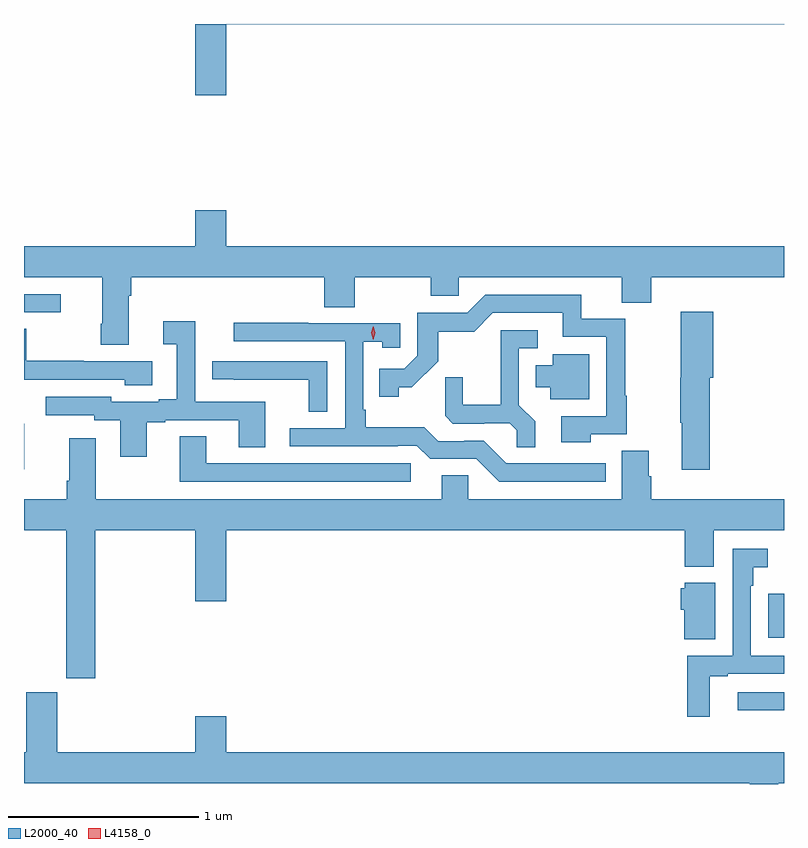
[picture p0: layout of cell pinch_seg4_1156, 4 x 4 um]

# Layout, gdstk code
import gdstk
lib = gdstk.Library(unit=1e-6, precision=1e-09)
def R(c, l, rs):  # rectangles x0, y0, x1, y1
    for r in rs: c.add(gdstk.rectangle(r[:2], r[2:], *l))
def P(c, l, *ps):  # polygons
    for p in ps: c.add(gdstk.Polygon(p, *l))
L2000_40 = (2000, 40)
L4158_0 = (4158, 0)

pinch_seg4_1156 = lib.new_cell('pinch_seg4_1156')
R(pinch_seg4_1156, L2000_40, [(395.637,782.553,395.88,782.649), (395.798,782.936,395.88,783.166), (391.88,783.821,391.881,784.061), (391.88,784.647,392.074,784.743)])
P(pinch_seg4_1156, L2000_40, [(392.944,786.164),(395.88,786.164),(395.88,786.165),(391.88,786.165),(391.88,786.164),(392.78,786.164),(392.78,785.79),(392.944,785.79)],
  [(392.431,784.736),(392.444,784.736),(392.444,784.832),(393.461,784.832),(393.461,784.675),(393.621,784.675),(393.621,784.832),(394.021,784.832),(394.021,784.734),(394.167,784.734),(394.167,784.832),(395.027,784.832),(395.027,784.699),(395.18,784.699),(395.18,784.832),(395.88,784.832),(395.88,784.996),(392.944,784.996),(392.944,785.185),(392.78,785.185),(392.78,784.996),(391.88,784.996),(391.88,784.832),(392.291,784.832),(392.291,784.588),(392.284,784.588),(392.284,784.476),(392.431,784.476)],
  [(394.863,784.005),(395.053,784.005),(395.053,784.208),(395.045,784.208),(395.045,784.614),(394.814,784.614),(394.814,784.74),(394.308,784.74),(394.212,784.644),(393.951,784.644),(393.951,784.419),(393.882,784.35),(393.751,784.35),(393.751,784.203),(393.852,784.203),(393.852,784.253),(393.922,784.253),(394.06,784.39),(394.06,784.546),(394.249,784.546),(394.347,784.644),(394.715,784.644),(394.715,784.518),(394.944,784.518),(394.944,784.101),(394.707,784.101),(394.707,783.965),(394.863,783.965)],
  [(395.489,784.302),(395.507,784.302),(395.507,784.651),(395.336,784.651),(395.336,784.302),(395.335,784.302),(395.335,784.067),(395.342,784.067),(395.342,783.819),(395.489,783.819)],
  [(392.527,784.068),(392.623,784.068),(392.623,784.08),(393.011,784.08),(393.011,783.937),(393.151,783.937),(393.151,784.176),(392.781,784.176),(392.781,784.6),(392.613,784.6),(392.613,784.48),(392.684,784.48),(392.684,784.189),(392.588,784.189),(392.588,784.176),(392.34,784.176),(392.34,784.203),(391.995,784.203),(391.995,784.107),(392.25,784.107),(392.25,784.08),(392.387,784.08),(392.387,783.888),(392.527,783.888)],
  [(394.942,783.852),(394.419,783.852),(394.299,783.972),(394.198,783.972),(394.198,783.969),(394.059,783.969),(393.986,784.042),(393.679,784.042),(393.679,784.135),(393.666,784.135),(393.666,784.493),(393.765,784.493),(393.765,784.461),(393.861,784.461),(393.861,784.59),(393.377,784.59),(393.377,784.593),(392.985,784.593),(392.985,784.494),(393.57,784.494),(393.57,784.038),(393.279,784.038),(393.279,783.942),(393.848,783.942),(393.848,783.945),(393.948,783.945),(394.017,783.876),(394.26,783.876),(394.38,783.756),(394.942,783.756)],
  [(392.554,784.389),(392.195,784.389),(392.195,784.392),(391.891,784.392),(391.891,784.562),(391.88,784.562),(391.88,784.293),(392.409,784.293),(392.409,784.265),(392.554,784.265)],
  [(394.571,784.073),(394.485,784.159),(394.485,784.458),(394.585,784.458),(394.585,784.554),(394.388,784.554),(394.388,784.162),(394.19,784.162),(394.19,784.305),(394.096,784.305),(394.096,784.103),(394.137,784.062),(394.302,784.062),(394.302,784.065),(394.436,784.065),(394.473,784.028),(394.473,783.937),(394.571,783.937)],
  [(394.855,784.426),(394.664,784.426),(394.664,784.369),(394.574,784.369),(394.574,784.253),(394.649,784.253),(394.649,784.19),(394.855,784.19)],
  [(393.477,784.389),(392.871,784.389),(392.871,784.294),(392.983,784.294),(392.983,784.293),(393.379,784.293),(393.379,784.123),(393.477,784.123)],
  [(393.916,783.852),(392.839,783.852),(392.839,783.995),(392.699,783.995),(392.699,783.756),(393.916,783.756)],
  [(392.255,783.5),(392.78,783.5),(392.78,783.126),(392.944,783.126),(392.944,783.5),(395.357,783.5),(395.357,783.308),(395.509,783.308),(395.509,783.5),(395.88,783.5),(395.88,783.664),(395.18,783.664),(395.18,783.786),(395.167,783.786),(395.167,783.92),(395.027,783.92),(395.027,783.664),(394.218,783.664),(394.218,783.791),(394.079,783.791),(394.079,783.664),(392.257,783.664),(392.257,783.985),(392.117,783.985),(392.117,783.76),(392.105,783.76),(392.105,783.664),(391.88,783.664),(391.88,783.5),(392.102,783.5),(392.102,782.721),(392.255,782.721)],
  [(395.488,782.733),(395.584,782.733),(395.584,782.745),(395.88,782.745),(395.88,782.841),(395.706,782.841),(395.706,783.209),(395.719,783.209),(395.719,783.305),(395.794,783.305),(395.794,783.402),(395.61,783.402),(395.61,782.841),(395.371,782.841),(395.371,782.52),(395.488,782.52)],
  [(395.518,783.223),(395.358,783.223),(395.358,783.195),(395.336,783.195),(395.336,783.081),(395.354,783.081),(395.354,782.926),(395.518,782.926)],
  [(395.851,782.168),(395.88,782.168),(395.88,782.332),(392.944,782.332),(392.944,782.521),(392.78,782.521),(392.78,782.332),(392.056,782.332),(392.056,782.649),(391.892,782.649),(391.892,782.332),(391.88,782.332),(391.88,782.168),(395.699,782.168),(395.699,782.165),(395.851,782.165)])
P(pinch_seg4_1156, L4158_0, [(393.719,784.503),(393.719,784.503),(393.708,784.539),(393.718,784.575),(393.718,784.575),(393.718,784.575),(393.728,784.539),(393.719,784.503)])

lib.write_gds('pinch_seg4_1156.gds')
